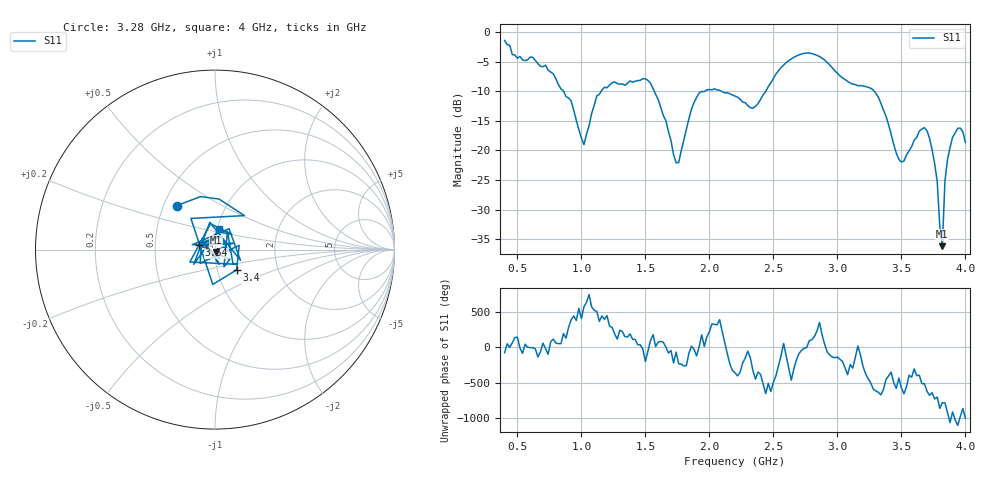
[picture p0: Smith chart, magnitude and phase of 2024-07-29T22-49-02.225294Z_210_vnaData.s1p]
!Created with skrf (http://scikit-rf.org).
# Hz S RI R 50.0
!freq ReS11 ImS11
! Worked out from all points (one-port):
!   181 points, 400 MHz to 4 GHz, reference 50 ohm
!   lowest |S11| = -36.2 dB at 3.82 GHz (marker M1), VSWR 1.03, Z = 50.7 - j1.38 ohm
!   |S11| at or under -10 dB: 1.57 GHz to 1.962 GHz (392.8 MHz wide, 22.2 % of centre); 2.095 GHz to 2.441 GHz (345.6 MHz wide, 15.2 % of centre); 3.289 GHz to end of sweep (the widest 3 of 4)
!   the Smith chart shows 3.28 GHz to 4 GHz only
!   S11 on the Smith chart (normalised r, x): 3.28 GHz: 0.58, +0.32; 3.4 GHz: 1.24, -0.29; 3.54 GHz: 0.84, +0.04; 4 GHz: 1.02, +0.24
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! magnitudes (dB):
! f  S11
! 400 MHz  -1.4
! 720 MHz  -5.6
! 860 MHz  -9.9
! 920 MHz  -11.6
! 1.02 GHz  -19.0
! 1.12 GHz  -10.8
! 1.3 GHz  -8.8
! 1.54 GHz  -8.6
! 1.76 GHz  -22.1
! 1.92 GHz  -10.3
! 2.2 GHz  -10.8
! 2.34 GHz  -12.8
! 2.66 GHz  -4.2
! 2.84 GHz  -3.9
! 3.1 GHz  -8.6
! 3.28 GHz  -9.8
! 3.4 GHz  -15.6
! 3.48 GHz  -21.5
! 3.54 GHz  -20.7
! 3.56 GHz  -20.0
! 3.7 GHz  -16.7
! 3.78 GHz  -25.3
! 3.8 GHz  -32.8
! 3.82 GHz  -36.2
! 3.84 GHz  -25.2
! 3.88 GHz  -19.5
! 3.94 GHz  -16.3
! 4 GHz  -18.6
